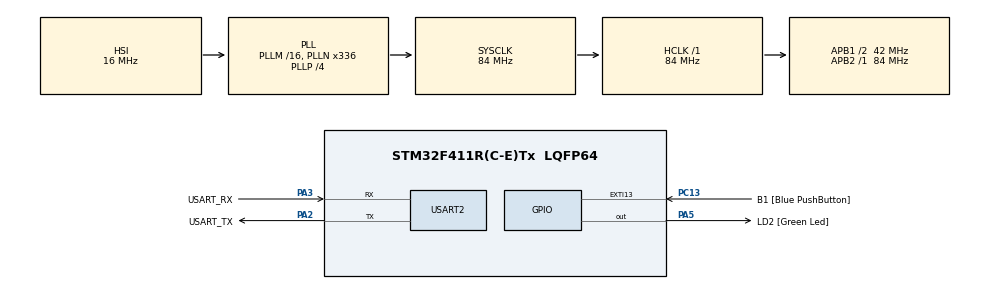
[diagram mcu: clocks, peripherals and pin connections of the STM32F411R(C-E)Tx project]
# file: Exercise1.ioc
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Mcu.Family=STM32F4
Mcu.Name=STM32F411R(C-E)Tx
Mcu.Package=LQFP64
NVIC.PriorityGroup=NVIC_PRIORITYGROUP_0
PA13.GPIO_Label=TMS
PA13.Mode=Serial_Wire
PA13.Signal=SYS_JTMS-SWDIO
PA14.GPIO_Label=TCK
PA14.Mode=Serial_Wire
PA14.Signal=SYS_JTCK-SWCLK
PA2.GPIO_Label=USART_TX
PA2.Mode=Asynchronous
PA2.Signal=USART2_TX
PA3.GPIO_Label=USART_RX
PA3.Mode=Asynchronous
PA3.Signal=USART2_RX
PA5.GPIO_Label=LD2 [Green Led]
PA5.Signal=GPIO_Output
PB3.GPIO_Label=SWO
PB3.Signal=SYS_JTDO-SWO
PC13-ANTI_TAMP.GPIO_Label=B1 [Blue PushButton]
PC13-ANTI_TAMP.GPIO_ModeDefaultEXTI=GPIO_MODE_IT_FALLING
PC13-ANTI_TAMP.Signal=GPXTI13
PC14-OSC32_IN.Mode=LSE-External-Oscillator
PC14-OSC32_IN.Signal=RCC_OSC32_IN
PC15-OSC32_OUT.Mode=LSE-External-Oscillator
PC15-OSC32_OUT.Signal=RCC_OSC32_OUT
PH0\ -\ OSC_IN.Mode=HSE-External-Clock-Source
PH0\ -\ OSC_IN.Signal=RCC_OSC_IN
PH1\ -\ OSC_OUT.Mode=HSE-External-Clock-Source
PH1\ -\ OSC_OUT.Signal=RCC_OSC_OUT
ProjectManager.HeapSize=0x200
ProjectManager.StackSize=0x400
ProjectManager.TargetToolchain=STM32CubeIDE
RCC.48MHZClocksFreq_Value=84000000
RCC.AHBFreq_Value=84000000
RCC.APB1CLKDivider=RCC_HCLK_DIV2
RCC.APB1Freq_Value=42000000
RCC.APB1TimFreq_Value=84000000
RCC.APB2Freq_Value=84000000
RCC.APB2TimFreq_Value=84000000
RCC.CortexFreq_Value=84000000
RCC.FLatency-AdvancedSettings=FLASH_LATENCY_2
RCC.HCLKFreq_Value=84000000
RCC.HSE_VALUE=8000000
RCC.HSI_VALUE=16000000
RCC.PLLN=336
RCC.PLLP=RCC_PLLP_DIV4
RCC.SYSCLKFreq_VALUE=84000000
RCC.SYSCLKSource=RCC_SYSCLKSOURCE_PLLCLK
RCC.VCOOutputFreq_Value=336000000
USART2.VirtualMode=VM_ASYNC
board=NUCLEO-F411RE

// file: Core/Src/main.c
/* USER CODE BEGIN Header */
/**
  ******************************************************************************
  * @file           : main.c
  * @brief          : Main program body
  ******************************************************************************
  * @attention
  *
  * Copyright (c) 2022 STMicroelectronics.
  * All rights reserved.
  *
  * This software is licensed under terms that can be found in the LICENSE file
  * in the root directory of this software component.
  * If no LICENSE file comes with this software, it is provided AS-IS.
  *
  ******************************************************************************
  */
/* USER CODE END Header */
#include "main.h"

 UART_HandleTypeDef huart2;

void SystemClock_Config(void);
static void MX_GPIO_Init(void);
static void MX_USART2_UART_Init(void);
/* USER CODE BEGIN PFP */
void LedControllerEX1A();
void LedControllerEX2A();
/* USER CODE END PFP */

int main(void)
{

  /* MCU Configuration--------------------------------------------------------*/

  /* Reset of all peripherals, Initializes the Flash interface and the Systick. */
  HAL_Init();

  /* Configure the system clock */
  SystemClock_Config();

  /* Initialize all configured peripherals */
  MX_GPIO_Init();
  MX_USART2_UART_Init();

  /* Infinite loop */
  /* USER CODE BEGIN WHILE */
  while (1)
  {
	  LedControllerEX1A();
    /* USER CODE END WHILE */

  }
}

void SystemClock_Config(void)
{
  RCC_OscInitTypeDef RCC_OscInitStruct = {0};
  RCC_ClkInitTypeDef RCC_ClkInitStruct = {0};

  /** Configure the main internal regulator output voltage
  */
  __HAL_RCC_PWR_CLK_ENABLE();
  __HAL_PWR_VOLTAGESCALING_CONFIG(PWR_REGULATOR_VOLTAGE_SCALE1);

  /** Initializes the RCC Oscillators according to the specified parameters
  * in the RCC_OscInitTypeDef structure.
  */
  RCC_OscInitStruct.OscillatorType = RCC_OSCILLATORTYPE_HSI;
  RCC_OscInitStruct.HSIState = RCC_HSI_ON;
  RCC_OscInitStruct.HSICalibrationValue = RCC_HSICALIBRATION_DEFAULT;
  RCC_OscInitStruct.PLL.PLLState = RCC_PLL_ON;
  RCC_OscInitStruct.PLL.PLLSource = RCC_PLLSOURCE_HSI;
  RCC_OscInitStruct.PLL.PLLM = 16;
  RCC_OscInitStruct.PLL.PLLN = 336;
  RCC_OscInitStruct.PLL.PLLP = RCC_PLLP_DIV4;
  RCC_OscInitStruct.PLL.PLLQ = 4;
  if (HAL_RCC_OscConfig(&RCC_OscInitStruct) != HAL_OK)
  {
    Error_Handler();
  }

  /** Initializes the CPU, AHB and APB buses clocks
  */
  RCC_ClkInitStruct.ClockType = RCC_CLOCKTYPE_HCLK|RCC_CLOCKTYPE_SYSCLK
                              |RCC_CLOCKTYPE_PCLK1|RCC_CLOCKTYPE_PCLK2;
  RCC_ClkInitStruct.SYSCLKSource = RCC_SYSCLKSOURCE_PLLCLK;
  RCC_ClkInitStruct.AHBCLKDivider = RCC_SYSCLK_DIV1;
  RCC_ClkInitStruct.APB1CLKDivider = RCC_HCLK_DIV2;
  RCC_ClkInitStruct.APB2CLKDivider = RCC_HCLK_DIV1;

  if (HAL_RCC_ClockConfig(&RCC_ClkInitStruct, FLASH_LATENCY_2) != HAL_OK)
  {
    Error_Handler();
  }
}

static void MX_USART2_UART_Init(void)
{

  huart2.Instance = USART2;
  huart2.Init.BaudRate = 115200;
  huart2.Init.WordLength = UART_WORDLENGTH_8B;
  huart2.Init.StopBits = UART_STOPBITS_1;
  huart2.Init.Parity = UART_PARITY_NONE;
  huart2.Init.Mode = UART_MODE_TX_RX;
  huart2.Init.HwFlowCtl = UART_HWCONTROL_NONE;
  huart2.Init.OverSampling = UART_OVERSAMPLING_16;
  if (HAL_UART_Init(&huart2) != HAL_OK)
  {
    Error_Handler();
  }

}

static void MX_GPIO_Init(void)
{
  GPIO_InitTypeDef GPIO_InitStruct = {0};

  /* GPIO Ports Clock Enable */
  __HAL_RCC_GPIOC_CLK_ENABLE();
  __HAL_RCC_GPIOH_CLK_ENABLE();
  __HAL_RCC_GPIOA_CLK_ENABLE();
  __HAL_RCC_GPIOB_CLK_ENABLE();

  /*Configure GPIO pin Output Level */
  HAL_GPIO_WritePin(LD2_GPIO_Port, LD2_Pin, GPIO_PIN_RESET);

  /*Configure GPIO pin : B1_Pin */
  GPIO_InitStruct.Pin = B1_Pin;
  GPIO_InitStruct.Mode = GPIO_MODE_IT_FALLING;
  GPIO_InitStruct.Pull = GPIO_NOPULL;
  HAL_GPIO_Init(B1_GPIO_Port, &GPIO_InitStruct);

  /*Configure GPIO pin : LD2_Pin */
  GPIO_InitStruct.Pin = LD2_Pin;
  GPIO_InitStruct.Mode = GPIO_MODE_OUTPUT_PP;
  GPIO_InitStruct.Pull = GPIO_NOPULL;
  GPIO_InitStruct.Speed = GPIO_SPEED_FREQ_LOW;
  HAL_GPIO_Init(LD2_GPIO_Port, &GPIO_InitStruct);

}

/* USER CODE BEGIN 4 */
void LedControllerEX1A()
{
	static uint32_t timeStamp = 0;
	if(HAL_GetTick() - timeStamp > 1000) // 1000ms On 1000ms Off
	{
		timeStamp = HAL_GetTick();
		HAL_GPIO_TogglePin(GPIOA, GPIO_PIN_5);
	}
//	HAL_Delay(1000); // 1 Hz
//	HAL_GPIO_TogglePin(GPIOA, GPIO_PIN_5);
}

void LedControllerEX2A()
{
	// Current State of Btn is Active Low
	static int8_t btnStatus = 0; // 0 For PIN_Set 1 for PIN_Reset -1 for Error
	if(HAL_GPIO_ReadPin(GPIOC, GPIO_PIN_13) == GPIO_PIN_SET) // Btn not Press
	{
		btnStatus = 0;
	}
	else if(HAL_GPIO_ReadPin(GPIOC, GPIO_PIN_13) == GPIO_PIN_RESET) // Btn Press
	{
		btnStatus = 1;
	}
	else
	{
		btnStatus = -1;
	}

	switch (btnStatus) {
		case 0:
			// Led off
			HAL_GPIO_WritePin(GPIOA, GPIO_PIN_5, GPIO_PIN_RESET);
			break;
		case 1:
			// Led On
			HAL_GPIO_WritePin(GPIOA, GPIO_PIN_5, GPIO_PIN_SET);
			break;
	}

}
/* USER CODE END 4 */

void Error_Handler(void)
{
  __disable_irq();
  while (1)
  {
  }
}
